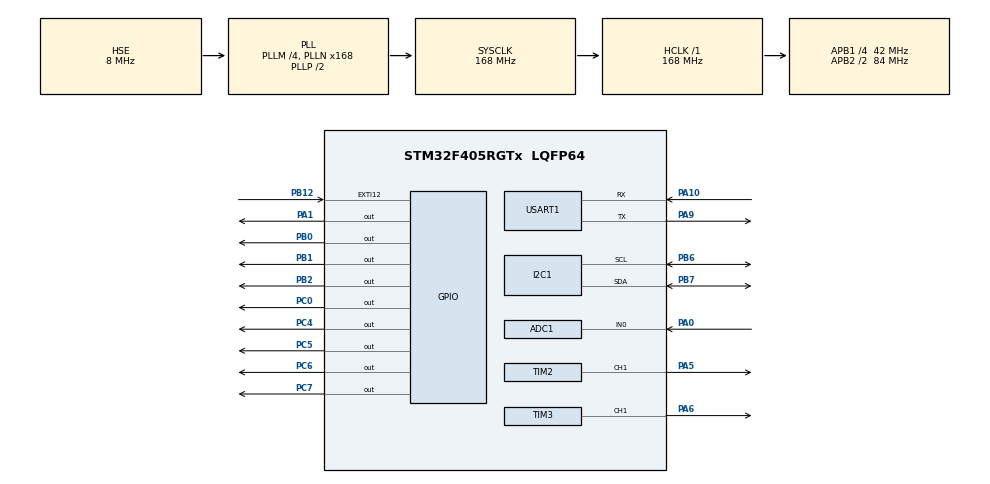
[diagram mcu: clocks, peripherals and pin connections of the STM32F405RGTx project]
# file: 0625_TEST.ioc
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ADC1.Channel-1\#ChannelRegularConversion=ADC_CHANNEL_0
ADC1.ContinuousConvMode=ENABLE
ADC1.DMAContinuousRequests=ENABLE
ADC1.NbrOfConversion=1
ADC1.NbrOfConversionFlag=1
ADC1.Rank-1\#ChannelRegularConversion=1
ADC1.SamplingTime-1\#ChannelRegularConversion=ADC_SAMPLETIME_56CYCLES
ADC1.master=1
Dma.ADC1.0.Direction=DMA_PERIPH_TO_MEMORY
Dma.ADC1.0.FIFOMode=DMA_FIFOMODE_DISABLE
Dma.ADC1.0.Instance=DMA2_Stream0
Dma.ADC1.0.MemDataAlignment=DMA_MDATAALIGN_HALFWORD
Dma.ADC1.0.MemInc=DMA_MINC_ENABLE
Dma.ADC1.0.Mode=DMA_CIRCULAR
Dma.ADC1.0.PeriphDataAlignment=DMA_PDATAALIGN_HALFWORD
Dma.ADC1.0.PeriphInc=DMA_PINC_DISABLE
Dma.ADC1.0.Priority=DMA_PRIORITY_LOW
Dma.Request0=ADC1
I2C1.I2C_Mode=I2C_Fast
Mcu.Family=STM32F4
Mcu.Name=STM32F405RGTx
Mcu.Package=LQFP64
NVIC.DMA2_Stream0_IRQn=true\:0\:0\:false\:false\:true\:false\:true
NVIC.EXTI15_10_IRQn=true\:0\:0\:false\:false\:true\:true\:true
NVIC.I2C1_EV_IRQn=true\:0\:0\:false\:false\:true\:true\:true
NVIC.PriorityGroup=NVIC_PRIORITYGROUP_4
NVIC.TIM2_IRQn=true\:0\:0\:false\:false\:true\:true\:true
NVIC.USART1_IRQn=true\:0\:0\:false\:false\:true\:true\:true
PA0-WKUP.Signal=ADCx_IN0
PA1.Signal=GPIO_Output
PA10.Mode=Asynchronous
PA10.Signal=USART1_RX
PA13.Mode=Serial_Wire
PA13.Signal=SYS_JTMS-SWDIO
PA14.Mode=Serial_Wire
PA14.Signal=SYS_JTCK-SWCLK
PA5.Signal=S_TIM2_CH1_ETR
PA6.Signal=S_TIM3_CH1
PA9.Mode=Asynchronous
PA9.Signal=USART1_TX
PB0.Signal=GPIO_Output
PB1.Signal=GPIO_Output
PB12.Signal=GPXTI12
PB2.Signal=GPIO_Output
PB6.Mode=I2C
PB6.Signal=I2C1_SCL
PB7.Mode=I2C
PB7.Signal=I2C1_SDA
PC0.Signal=GPIO_Output
PC4.Signal=GPIO_Output
PC5.Signal=GPIO_Output
PC6.Signal=GPIO_Output
PC7.Signal=GPIO_Output
PH0-OSC_IN.Mode=HSE-External-Oscillator
PH0-OSC_IN.Signal=RCC_OSC_IN
PH1-OSC_OUT.Mode=HSE-External-Oscillator
PH1-OSC_OUT.Signal=RCC_OSC_OUT
ProjectManager.HeapSize=0x200
ProjectManager.StackSize=0x400
ProjectManager.TargetToolchain=EWARM V8.32
RCC.48MHZClocksFreq_Value=84000000
RCC.AHBFreq_Value=168000000
RCC.APB1CLKDivider=RCC_HCLK_DIV4
RCC.APB1Freq_Value=42000000
RCC.APB1TimFreq_Value=84000000
RCC.APB2CLKDivider=RCC_HCLK_DIV2
RCC.APB2Freq_Value=84000000
RCC.APB2TimFreq_Value=168000000
RCC.CortexFreq_Value=168000000
RCC.HCLKFreq_Value=168000000
RCC.HSE_VALUE=8000000
RCC.HSI_VALUE=16000000
RCC.LSE_VALUE=32768
RCC.PLLM=4
RCC.PLLN=168
RCC.PLLSourceVirtual=RCC_PLLSOURCE_HSE
RCC.SYSCLKFreq_VALUE=168000000
RCC.SYSCLKSource=RCC_SYSCLKSOURCE_PLLCLK
RCC.VCOOutputFreq_Value=336000000
SH.ADCx_IN0.0=ADC1_IN0,IN0
SH.S_TIM2_CH1_ETR.0=TIM2_CH1,PWM Generation1 CH1
SH.S_TIM3_CH1.0=TIM3_CH1,PWM Generation1 CH1
TIM2.Channel-PWM\ Generation1\ CH1=TIM_CHANNEL_1
TIM3.Channel-PWM\ Generation1\ CH1=TIM_CHANNEL_1
USART1.VirtualMode=VM_ASYNC
VP_TIM2_VS_ClockSourceINT.Mode=Internal
VP_TIM3_VS_ClockSourceINT.Mode=Internal
board=custom

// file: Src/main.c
/* USER CODE BEGIN Header */
/**
  ******************************************************************************
  * @file           : main.c
  * @brief          : Main program body
  ******************************************************************************
  * @attention
  *
  * <h2><center>&copy; Copyright (c) 2020 STMicroelectronics.
  * All rights reserved.</center></h2>
  *
  * This software component is licensed by ST under BSD 3-Clause license,
  * the "License"; You may not use this file except in compliance with the
  * License. You may obtain a copy of the License at:
  *                        opensource.org/licenses/BSD-3-Clause
  *
  ******************************************************************************
  */

/*
         ARM EXAM
         Created : 2020-06-25
         Author :  변승재
*/

/* USER CODE END Header */

#include "main.h"
#include "adc.h"
#include "dma.h"
#include "i2c.h"
#include "tim.h"
#include "usart.h"
#include "gpio.h"

/* USER CODE BEGIN Includes */
#include "lcd.h"
#include "stdio.h"
/* USER CODE END Includes */

/* USER CODE BEGIN PD */
#define SHT2x_ADDR                      0x40<<1         //slave주소가 7비트라서 시프트1
#define SHT2x_HOLD_MASTER_T             0xE3
#define SHT2x_HOLD_MASTER_RH            0xE5
#define SHT2x_NOHOLD_MASTER_T           0xF3
#define SHT2x_NOHOLD_MASTER_RH          0xF5
#define SHT2x_WRITE_USER_REG            0xE6
#define SHT2x_READ_USER_REG             0xE7
#define SHT2x_SOFT_RESET                0xFE
/* USER CODE END PD */

/* USER CODE BEGIN PV */
unsigned char rxData = 0;        //입력값 val
unsigned int menuData = 0;      //menu val

unsigned int CCR1_Val = 0;      //led val

uint16_t adcData = 0;                //adc val
char str1[10];                         //adc str

uint8_t i2cData[2];                   //i2c val
uint16_t val = 0;                       //i2c val
uint8_t mode;                          //i2c val
float TEMP, HUMI;                   //i2c val
char str2[16];                        //Temp&Humi str

//unsigned int music_val = 0;     //음계 val
unsigned int DoReMi[8] = {261, 293, 329, 349, 391, 440, 493, 523};     //음계
unsigned long pwmfreq;
unsigned piano = 0;

uint8_t Time_STOP = 0;

/* USER CODE END PV */

void SystemClock_Config(void);
/* USER CODE BEGIN PFP */

int fputc(int ch, FILE *stream)
{
  HAL_UART_Transmit(&huart1, (uint8_t*)&ch, 1, 10);
  return ch;
}

void LEDMenu();
void ADCMenu();
void TEMPMenu();

/* USER CODE END PFP */

int main(void)
{

  /* MCU Configuration--------------------------------------------------------*/

  /* Reset of all peripherals, Initializes the Flash interface and the Systick. */
  HAL_Init();

  /* Configure the system clock */
  SystemClock_Config();

  /* Initialize all configured peripherals */
  MX_GPIO_Init();
  MX_DMA_Init();
  MX_ADC1_Init();
  MX_I2C1_Init();
  MX_TIM2_Init();
  MX_USART1_UART_Init();
  MX_TIM3_Init();
  /* USER CODE BEGIN 2 */
  lcdInit();
  HAL_TIM_PWM_Start(&htim2, TIM_CHANNEL_1); //tim2 ch1설정
  HAL_UART_Receive_IT(&huart1, &rxData, 1); //인터럽트 OPEN
  HAL_ADC_Start_DMA(&hadc1, (uint32_t*)&adcData, sizeof(adcData)); //cds_DMA
  HAL_TIM_PWM_Start(&htim3, TIM_CHANNEL_1); //tim3 ch1설정
  /* USER CODE END 2 */

  /* Infinite loop */
  /* USER CODE BEGIN WHILE */
  printf("\r\n++++ Menu ++++\r\n L : LED\r\n C : CDS\r\n T : TEMP&HUMI\r\n 1 ~ 8 : Digital Piano\r\n push S/W : STOP\r\n");

  while (1)
  {
//---------------- LED ------------------//
    //if(menuData == 1) {
    if(rxData == 'l' || rxData == 'L') {
      if(Time_STOP == 0) {
        LEDMenu();

      }
    }
//---------------- ADC ------------------//

    if(rxData == 'c' || rxData == 'C') {
      if(Time_STOP == 0) {
        ADCMenu();
      }
    }
//---------------- TEMP & HUMID ------------------//
    if(rxData == 't' || rxData == 'T') {
      if(Time_STOP == 0) {
        TEMPMenu();
      }
    }
//---------------- Piano ------------------//
    //pwmfreq = 0;
    //TIM3->ARR = 0;
    //TIM3->CCR1 = 0;

    if(rxData == '1') {         //도
      piano = 1;
      if(piano == 1){
        pwmfreq = 8400000/DoReMi[0];
        TIM3->ARR = pwmfreq -1;
        TIM3->CCR1 = pwmfreq/10;
        HAL_Delay(500);
        TIM3->ARR = 0;
        TIM3->CCR1 = 0;
        piano = 0;
        rxData = 0;
      }
    }

    if(rxData == '2') {         //레
      piano = 2;
      if(piano == 2){
        pwmfreq = 8400000/DoReMi[1];
        TIM3->ARR = pwmfreq -1;
        TIM3->CCR1 = pwmfreq/2;
        HAL_Delay(500);
        TIM3->ARR = 0;
        TIM3->CCR1 = 0;
        piano = 0;
        rxData = 0;
      }
    }

    if(rxData == '3') {         //미
      piano = 3;
      if(piano == 3){
        pwmfreq = 8400000/DoReMi[2];
        TIM3->ARR = pwmfreq -1;
        TIM3->CCR1 = pwmfreq/2;
        HAL_Delay(500);
        TIM3->ARR = 0;
        TIM3->CCR1 = 0;
        piano = 0;
        rxData = 0;
      }
    }

    if(rxData == '4') {         //파
      piano = 4;
      if(piano == 4){
        pwmfreq = 8400000/DoReMi[3];
        TIM3->ARR = pwmfreq -1;
        TIM3->CCR1 = pwmfreq/2;
        HAL_Delay(500);
        TIM3->ARR = 0;
        TIM3->CCR1 = 0;
        piano = 0;
        rxData = 0;
      }
    }

    if(rxData == '5') {         //솔
      piano = 5;
      if(piano == 5){
        pwmfreq = 8400000/DoReMi[4];
        TIM3->ARR = pwmfreq -1;
        TIM3->CCR1 = pwmfreq/2;
        HAL_Delay(500);
        TIM3->ARR = 0;
        TIM3->CCR1 = 0;
        piano = 0;
        rxData = 0;
      }
    }

    if(rxData == '6') {         //라
      piano = 6;
      if(piano == 6){
        pwmfreq = 8400000/DoReMi[5];
        TIM3->ARR = pwmfreq -1;
        TIM3->CCR1 = pwmfreq/2;
        HAL_Delay(500);
        TIM3->ARR = 0;
        TIM3->CCR1 = 0;
        piano = 0;
        rxData = 0;
      }
    }

    if(rxData == '7') {         //시
      piano = 7;
      if(piano == 7){
        pwmfreq = 8400000/DoReMi[6];
        TIM3->ARR = pwmfreq -1;
        TIM3->CCR1 = pwmfreq/2;
        HAL_Delay(500);
        TIM3->ARR = 0;
        TIM3->CCR1 = 0;
        piano = 0;
        rxData = 0;
      }
    }

    if(rxData == '8') {         //도
      piano = 8;
      if(piano == 8){
        pwmfreq = 8400000/DoReMi[7];
        TIM3->ARR = pwmfreq -1;
        TIM3->CCR1 = pwmfreq/2;
        HAL_Delay(500);
        TIM3->ARR = 0;
        TIM3->CCR1 = 0;
        piano = 0;
        rxData = 0;
      }
    }

    /* USER CODE END WHILE */

  }
}

void SystemClock_Config(void)
{
  RCC_OscInitTypeDef RCC_OscInitStruct = {0};
  RCC_ClkInitTypeDef RCC_ClkInitStruct = {0};

  /** Configure the main internal regulator output voltage
  */
  __HAL_RCC_PWR_CLK_ENABLE();
  __HAL_PWR_VOLTAGESCALING_CONFIG(PWR_REGULATOR_VOLTAGE_SCALE1);
  /** Initializes the CPU, AHB and APB busses clocks
  */
  RCC_OscInitStruct.OscillatorType = RCC_OSCILLATORTYPE_HSE;
  RCC_OscInitStruct.HSEState = RCC_HSE_ON;
  RCC_OscInitStruct.PLL.PLLState = RCC_PLL_ON;
  RCC_OscInitStruct.PLL.PLLSource = RCC_PLLSOURCE_HSE;
  RCC_OscInitStruct.PLL.PLLM = 4;
  RCC_OscInitStruct.PLL.PLLN = 168;
  RCC_OscInitStruct.PLL.PLLP = RCC_PLLP_DIV2;
  RCC_OscInitStruct.PLL.PLLQ = 4;
  if (HAL_RCC_OscConfig(&RCC_OscInitStruct) != HAL_OK)
  {
    Error_Handler();
  }
  /** Initializes the CPU, AHB and APB busses clocks
  */
  RCC_ClkInitStruct.ClockType = RCC_CLOCKTYPE_HCLK|RCC_CLOCKTYPE_SYSCLK
                              |RCC_CLOCKTYPE_PCLK1|RCC_CLOCKTYPE_PCLK2;
  RCC_ClkInitStruct.SYSCLKSource = RCC_SYSCLKSOURCE_PLLCLK;
  RCC_ClkInitStruct.AHBCLKDivider = RCC_SYSCLK_DIV1;
  RCC_ClkInitStruct.APB1CLKDivider = RCC_HCLK_DIV4;
  RCC_ClkInitStruct.APB2CLKDivider = RCC_HCLK_DIV2;

  if (HAL_RCC_ClockConfig(&RCC_ClkInitStruct, FLASH_LATENCY_5) != HAL_OK)
  {
    Error_Handler();
  }
}

/* USER CODE BEGIN 4 */
//----------------LED FUNCTION-----------------
void LEDMenu() {
  TIM2->CCR1 = CCR1_Val;
   CCR1_Val++;
   if(CCR1_Val > 100) CCR1_Val = 0;
   HAL_Delay(50);
}
//----------------ADC FUNCTION-----------------
void ADCMenu() {
  lcdClear();
  lcdGotoXY(0,0);
  lcdPrintData("ADC DMA_Value: ",13);
  lcdGotoXY(0,1);
  sprintf(str1, "ADC : %d", adcData);
  lcdPrint(str1);
  HAL_Delay(500);
}
//----------------TEMP & HUMID FUNCTION-----------------
void TEMPMenu() {
  mode = SHT2x_NOHOLD_MASTER_T;
  HAL_I2C_Master_Transmit(&hi2c1, SHT2x_ADDR, &mode, 1, 10);
  HAL_Delay(100);
  HAL_I2C_Master_Receive(&hi2c1, SHT2x_ADDR, i2cData, 1, 10);
  val = i2cData[0] << 8 | i2cData[1];
  TEMP = -46.85 +175.72 * ((float)val / 65536);
  lcdGotoXY(0,0);
  sprintf(str2, "TEMP : %5.1lf ", TEMP);
  lcdPrint(str2);

  mode = SHT2x_NOHOLD_MASTER_RH;
  HAL_I2C_Master_Transmit(&hi2c1, SHT2x_ADDR, &mode, 1, 10);
  HAL_Delay(100);
  HAL_I2C_Master_Receive(&hi2c1, SHT2x_ADDR, i2cData, 1, 10);
  val = i2cData[0] << 8 |i2cData[1];
  HUMI = -6 +125 * ((float)val / 65536);
  lcdGotoXY(0,1);
  sprintf(str2, "HUMID : %5.1lf ", HUMI);
  lcdPrint(str2);
}
//----------------UART CALLBACK FUNCTION-----------------
void HAL_UART_RxCpltCallback(UART_HandleTypeDef *huart)
{
  if(huart->Instance == USART1) {
    HAL_UART_Receive_IT(&huart1, &rxData, 1); //수신은 인터럽트(IT)로 받음
    HAL_UART_Transmit(&huart1, &rxData, 1, 10);
  }
}
//----------------SWITCH CALLBACK FUNCTION----------------
void HAL_GPIO_EXTI_Callback(uint16_t GPIO_Pin)
{
  if(Time_STOP == 0) Time_STOP = 1;
  else Time_STOP = 0;
}
//---------------------------------------------------------
/* USER CODE END 4 */

void Error_Handler(void)
{
}

/************************ (C) COPYRIGHT STMicroelectronics *****END OF FILE****/
